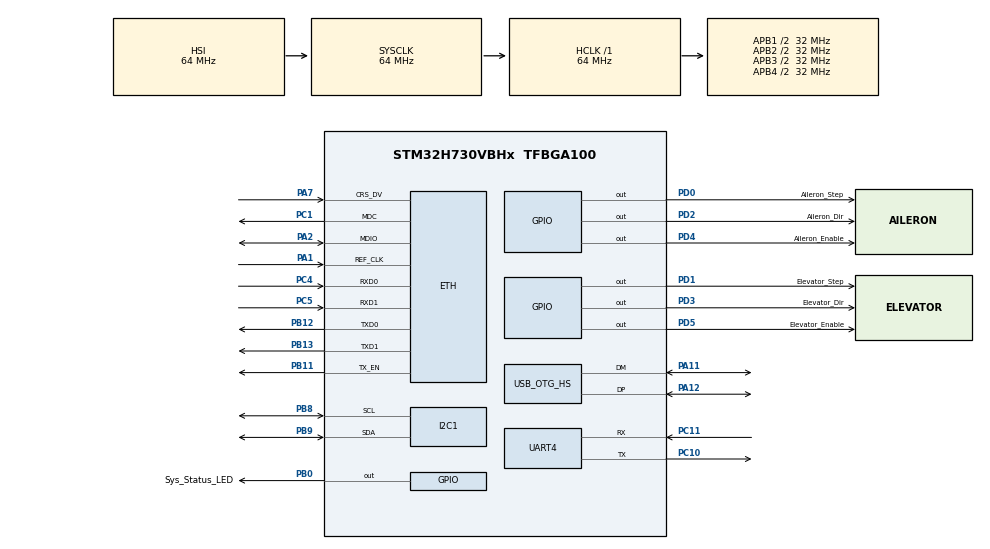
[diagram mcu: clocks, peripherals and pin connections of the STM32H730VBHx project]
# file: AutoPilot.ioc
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ETH.MediaInterface=HAL_ETH_RMII_MODE
I2C1.Timing=0x00707CBB
Mcu.Family=STM32H7
Mcu.Name=STM32H730VBHx
Mcu.Package=TFBGA100
NVIC.OTG_HS_IRQn=true\:0\:0\:false\:false\:true\:false\:true
NVIC.PriorityGroup=NVIC_PRIORITYGROUP_4
PA1.Mode=RMII
PA1.Signal=ETH_REF_CLK
PA11.Mode=Device_Only_FS
PA11.Signal=USB_OTG_HS_DM
PA12.Mode=Device_Only_FS
PA12.Signal=USB_OTG_HS_DP
PA2.Mode=RMII
PA2.Signal=ETH_MDIO
PA7.Mode=RMII
PA7.Signal=ETH_CRS_DV
PB0.GPIO_Label=Sys_Status_LED
PB0.Signal=GPIO_Output
PB11.Mode=RMII
PB11.Signal=ETH_TX_EN
PB12.Mode=RMII
PB12.Signal=ETH_TXD0
PB13.Mode=RMII
PB13.Signal=ETH_TXD1
PB8.Mode=I2C
PB8.Signal=I2C1_SCL
PB9.Mode=I2C
PB9.Signal=I2C1_SDA
PC1.Mode=RMII
PC1.Signal=ETH_MDC
PC10.Mode=Asynchronous
PC10.Signal=UART4_TX
PC11.Mode=Asynchronous
PC11.Signal=UART4_RX
PC4.Mode=RMII
PC4.Signal=ETH_RXD0
PC5.Mode=RMII
PC5.Signal=ETH_RXD1
PD0.GPIO_Label=Aileron_Step
PD0.GPIO_PuPd=GPIO_NOPULL
PD0.Signal=GPIO_Output
PD1.GPIO_Label=Elevator_Step
PD1.GPIO_PuPd=GPIO_NOPULL
PD1.PinState=GPIO_PIN_RESET
PD1.Signal=GPIO_Output
PD2.GPIO_Label=Aileron_Dir
PD2.GPIO_PuPd=GPIO_NOPULL
PD2.Signal=GPIO_Output
PD3.GPIO_Label=Elevator_Dir
PD3.GPIO_PuPd=GPIO_NOPULL
PD3.Signal=GPIO_Output
PD4.GPIO_Label=Aileron_Enable
PD4.GPIO_PuPd=GPIO_NOPULL
PD4.Signal=GPIO_Output
PD5.GPIO_Label=Elevator_Enable
PD5.GPIO_PuPd=GPIO_NOPULL
PD5.Signal=GPIO_Output
ProjectManager.HeapSize=0x200
ProjectManager.StackSize=0x400
ProjectManager.TargetToolchain=STM32CubeIDE
RCC.ADCFreq_Value=129000000
RCC.APB1Freq_Value=32000000
RCC.APB2Freq_Value=32000000
RCC.APB3Freq_Value=32000000
RCC.APB4Freq_Value=32000000
RCC.CortexFreq_Value=64000000
RCC.D1PPRE=RCC_APB3_DIV2
RCC.D2PPRE1=RCC_APB1_DIV2
RCC.D2PPRE2=RCC_APB2_DIV2
RCC.D3PPRE=RCC_APB4_DIV2
RCC.DIVM1=4
RCC.DIVN1=12
RCC.DIVQ1=4
RCC.HCLKFreq_Value=64000000
RCC.PLLFRACN=0
RCC.SYSCLKFreq_VALUE=64000000
RCC.USBCLockSelection=RCC_USBCLKSOURCE_HSI48
RCC.USBFreq_Value=48000000
USB_DEVICE.CLASS_NAME_HS=HID
USB_DEVICE.VirtualMode=Hid
USB_DEVICE.VirtualModeHS=Hid_HS
USB_OTG_HS.VirtualMode=Device_Only_FS
VP_USB_DEVICE_VS_USB_DEVICE_HID_HS.Mode=HID_HS
board=custom

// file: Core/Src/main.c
/* USER CODE BEGIN Header */
/**
  ******************************************************************************
  * @file           : main.c
  * @brief          : Main program body
  ******************************************************************************
  * @attention
  *
  * <h2><center>&copy; Copyright (c) 2021 STMicroelectronics.
  * All rights reserved.</center></h2>
  *
  * This software component is licensed by ST under BSD 3-Clause license,
  * the "License"; You may not use this file except in compliance with the
  * License. You may obtain a copy of the License at:
  *                        opensource.org/licenses/BSD-3-Clause
  *
  ******************************************************************************
  */
/* USER CODE END Header */
#include "main.h"
#include "string.h"
#include "usb_device.h"

/* USER CODE BEGIN Includes */
#include "PID.h"

/* USER CODE END Includes */

/* USER CODE BEGIN PM */
#define StepperEnable  1
#define StepperDisable  0
#define StepperForward  1
#define StepperBackward  0

u_int32_t Step_Delay = 5;

float Current_Bank, Desired_Bank = 0;
float Current_Pitch, Desired_Pitch = 0;
float AOutput, EOutput = 0;
int32_t Current_Airspeed, Desired_Airspeed = 0;
int32_t Current_Altitude, Desired_Altitude = 0;
int64_t Current_Step_Number, Desired_Step_Number = 0;

float Akp = 2.5, Aki = 1.0, Akd = 1.0;
float Ekp = 2.5, Eki = 1.0, Ekd = 1.0;
struct pid_controller Apidctrl;
struct pid_controller Epidctrl;

pid_t Aileron_PID = 0;
pid_t Elevator_PID = 0;

void Aileron_Direction_Set (int Direction)
{
	HAL_GPIO_WritePin(Aileron_Dir_GPIO_Port, Aileron_Dir_Pin, Direction);
}

void Elevator_Direction_Set (int Direction)
{
	HAL_GPIO_WritePin(Elevator_Dir_GPIO_Port, Elevator_Dir_Pin, Direction);
}

void Setup_Aileron_PID ()
{
	Aileron_PID = pid_create(&Apidctrl, &Current_Bank, &AOutput, &Desired_Bank, Akp, Aki, Akd);
	// Set controler output limits from 0 to 200
	pid_limits(Aileron_PID, 0, 200);
	// Allow PID to compute and change output
	pid_manual(Aileron_PID);
}

void Send_Elevator_Steps (int64_t StepNum)
{

	//Set Stepper Direction
	if (StepNum < 0)
	{
	    Elevator_Direction_Set(StepperBackward);
	    StepNum = abs(StepNum);
	}

	if (StepNum >= 0)
	{
		Elevator_Direction_Set(StepperForward);
		StepNum = abs(StepNum);
	}
    //Complete Steps
	for(int64_t x = 0; x < StepNum; x++)
	{
		HAL_GPIO_WritePin(Elevator_Step_GPIO_Port, Elevator_Step_Pin, 1);
		HAL_Delay(Step_Delay / 2);
		HAL_GPIO_WritePin(GPIOD, Elevator_Step_Pin, 0);
		HAL_Delay(Step_Delay / 2);
	}
}

void Send_Airleron_Steps(int64_t StepNum)
{
	//Set Stepper Direction
	if (StepNum < 0)
	{
	    Aileron_Direction_Set(StepperBackward);
	    StepNum = abs(StepNum);
	}

	if (StepNum >= 0)
	{
		Aileron_Direction_Set(StepperForward);
		StepNum = abs(StepNum);
	}
	//Complete Steps
	for(int64_t x = 0; x < StepNum; x++)
	{
		HAL_GPIO_WritePin(Aileron_Step_GPIO_Port, Aileron_Step_Pin, 1);
		HAL_Delay(Step_Delay / 2);
		HAL_GPIO_WritePin(GPIOD, Aileron_Step_Pin, 0);
		HAL_Delay(Step_Delay / 2);
	}
}

void Calculate_Aileron_PID ()
{			// Read inputs
//	ain = tc_read_float(&sensor1); // read Current Roll Value
	// Compute PID controllers
	pid_compute(Aileron_PID);
	// Adjust actuator
	AOutput = abs(AOutput);
	Send_Airleron_Steps(AOutput);
}

void Setup_Elevator_PID ()
{
	Elevator_PID = pid_create(&Epidctrl, &Current_Pitch, &EOutput, &Desired_Pitch, Ekp, Eki, Ekd);
	// Set controler output limits from 0 to 200
	pid_limits(Elevator_PID, 0, 200);
	// Allow PID to compute and change output
	pid_manual(Elevator_PID);
}

void Calculate_Elevator_PID ()
{			// Read inputs
//	ein = tc_read_float(&sensor1); // read Current Pitch Value
	// Compute PID controllers
	pid_compute(Elevator_PID);
	// Adjust actuator
	EOutput = abs(EOutput);
	Send_Elevator_Steps(EOutput);
}

void Enable_Aileron_Motor (int EnableStatus)
{
	HAL_GPIO_WritePin(Aileron_Enable_GPIO_Port, Aileron_Enable_Pin, EnableStatus); // High to enable
}

void Enable_Elevator_Motor (int EnableStatus)
{
	HAL_GPIO_WritePin(Elevator_Enable_GPIO_Port, Elevator_Enable_Pin, EnableStatus); //High to enable
}

/* USER CODE END PM */

#if defined ( __ICCARM__ ) /*!< IAR Compiler */

#pragma location=0x30040000
ETH_DMADescTypeDef  DMARxDscrTab[ETH_RX_DESC_CNT]; /* Ethernet Rx DMA Descriptors */
#pragma location=0x30040060
ETH_DMADescTypeDef  DMATxDscrTab[ETH_TX_DESC_CNT]; /* Ethernet Tx DMA Descriptors */
#pragma location=0x30040200
uint8_t Rx_Buff[ETH_RX_DESC_CNT][ETH_MAX_PACKET_SIZE]; /* Ethernet Receive Buffers */

#elif defined ( __CC_ARM )  /* MDK ARM Compiler */

__attribute__((at(0x30040000))) ETH_DMADescTypeDef  DMARxDscrTab[ETH_RX_DESC_CNT]; /* Ethernet Rx DMA Descriptors */
__attribute__((at(0x30040060))) ETH_DMADescTypeDef  DMATxDscrTab[ETH_TX_DESC_CNT]; /* Ethernet Tx DMA Descriptors */
__attribute__((at(0x30040200))) uint8_t Rx_Buff[ETH_RX_DESC_CNT][ETH_MAX_PACKET_SIZE]; /* Ethernet Receive Buffer */

#elif defined ( __GNUC__ ) /* GNU Compiler */

ETH_DMADescTypeDef DMARxDscrTab[ETH_RX_DESC_CNT] __attribute__((section(".RxDecripSection"))); /* Ethernet Rx DMA Descriptors */
ETH_DMADescTypeDef DMATxDscrTab[ETH_TX_DESC_CNT] __attribute__((section(".TxDecripSection")));   /* Ethernet Tx DMA Descriptors */
uint8_t Rx_Buff[ETH_RX_DESC_CNT][ETH_MAX_PACKET_SIZE] __attribute__((section(".RxArraySection"))); /* Ethernet Receive Buffers */

#endif

ETH_TxPacketConfig TxConfig;

ETH_HandleTypeDef heth;

I2C_HandleTypeDef hi2c1;

UART_HandleTypeDef huart4;

void SystemClock_Config(void);
static void MX_GPIO_Init(void);
static void MX_ETH_Init(void);
static void MX_I2C1_Init(void);
static void MX_UART4_Init(void);

int main(void)
{

  /* MCU Configuration--------------------------------------------------------*/

  /* Reset of all peripherals, Initializes the Flash interface and the Systick. */
  HAL_Init();

  /* Configure the system clock */
  SystemClock_Config();

  /* Initialize all configured peripherals */
  MX_GPIO_Init();
  MX_ETH_Init();
  MX_I2C1_Init();
  MX_UART4_Init();
  MX_USB_DEVICE_Init();
  /* USER CODE BEGIN 2 */
Setup_Aileron_PID();
Setup_Elevator_PID();
  /* USER CODE END 2 */

  /* Infinite loop */
  while (1)
  {

  }
}

void SystemClock_Config(void)
{
  RCC_OscInitTypeDef RCC_OscInitStruct = {0};
  RCC_ClkInitTypeDef RCC_ClkInitStruct = {0};

  /** Supply configuration update enable
  */
  //HAL_PWREx_ConfigSupply(PWR_DIRECT_SMPS_SUPPLY);
  /** Configure the main internal regulator output voltage
  */
  __HAL_PWR_VOLTAGESCALING_CONFIG(PWR_REGULATOR_VOLTAGE_SCALE3);

  while(!__HAL_PWR_GET_FLAG(PWR_FLAG_VOSRDY)) {}
  /** Initializes the RCC Oscillators according to the specified parameters
  * in the RCC_OscInitTypeDef structure.
  */
  RCC_OscInitStruct.OscillatorType = RCC_OSCILLATORTYPE_HSI48|RCC_OSCILLATORTYPE_HSI;
  RCC_OscInitStruct.HSIState = RCC_HSI_DIV1;
  RCC_OscInitStruct.HSICalibrationValue = RCC_HSICALIBRATION_DEFAULT;
  RCC_OscInitStruct.HSI48State = RCC_HSI48_ON;
  RCC_OscInitStruct.PLL.PLLState = RCC_PLL_NONE;
  if (HAL_RCC_OscConfig(&RCC_OscInitStruct) != HAL_OK)
  {
    Error_Handler();
  }
  /** Initializes the CPU, AHB and APB buses clocks
  */
  RCC_ClkInitStruct.ClockType = RCC_CLOCKTYPE_HCLK|RCC_CLOCKTYPE_SYSCLK
                              |RCC_CLOCKTYPE_PCLK1|RCC_CLOCKTYPE_PCLK2
                              |RCC_CLOCKTYPE_D3PCLK1|RCC_CLOCKTYPE_D1PCLK1;
  RCC_ClkInitStruct.SYSCLKSource = RCC_SYSCLKSOURCE_HSI;
  RCC_ClkInitStruct.SYSCLKDivider = RCC_SYSCLK_DIV1;
  RCC_ClkInitStruct.AHBCLKDivider = RCC_HCLK_DIV1;
  RCC_ClkInitStruct.APB3CLKDivider = RCC_APB3_DIV2;
  RCC_ClkInitStruct.APB1CLKDivider = RCC_APB1_DIV2;
  RCC_ClkInitStruct.APB2CLKDivider = RCC_APB2_DIV2;
  RCC_ClkInitStruct.APB4CLKDivider = RCC_APB4_DIV2;

  if (HAL_RCC_ClockConfig(&RCC_ClkInitStruct, FLASH_LATENCY_1) != HAL_OK)
  {
    Error_Handler();
  }
}

static void MX_ETH_Init(void)
{

   static uint8_t MACAddr[6];

  heth.Instance = ETH;
  MACAddr[0] = 0x00;
  MACAddr[1] = 0x80;
  MACAddr[2] = 0xE1;
  MACAddr[3] = 0x00;
  MACAddr[4] = 0x00;
  MACAddr[5] = 0x00;
  heth.Init.MACAddr = &MACAddr[0];
  heth.Init.MediaInterface = HAL_ETH_RMII_MODE;
  heth.Init.TxDesc = DMATxDscrTab;
  heth.Init.RxDesc = DMARxDscrTab;
  heth.Init.RxBuffLen = 1524;

  if (HAL_ETH_Init(&heth) != HAL_OK)
  {
    Error_Handler();
  }

  memset(&TxConfig, 0 , sizeof(ETH_TxPacketConfig));
  TxConfig.Attributes = ETH_TX_PACKETS_FEATURES_CSUM | ETH_TX_PACKETS_FEATURES_CRCPAD;
  TxConfig.ChecksumCtrl = ETH_CHECKSUM_IPHDR_PAYLOAD_INSERT_PHDR_CALC;
  TxConfig.CRCPadCtrl = ETH_CRC_PAD_INSERT;

}

static void MX_I2C1_Init(void)
{

  hi2c1.Instance = I2C1;
  hi2c1.Init.Timing = 0x00707CBB;
  hi2c1.Init.OwnAddress1 = 0;
  hi2c1.Init.AddressingMode = I2C_ADDRESSINGMODE_7BIT;
  hi2c1.Init.DualAddressMode = I2C_DUALADDRESS_DISABLE;
  hi2c1.Init.OwnAddress2 = 0;
  hi2c1.Init.OwnAddress2Masks = I2C_OA2_NOMASK;
  hi2c1.Init.GeneralCallMode = I2C_GENERALCALL_DISABLE;
  hi2c1.Init.NoStretchMode = I2C_NOSTRETCH_DISABLE;
  if (HAL_I2C_Init(&hi2c1) != HAL_OK)
  {
    Error_Handler();
  }
  /** Configure Analogue filter
  */
  if (HAL_I2CEx_ConfigAnalogFilter(&hi2c1, I2C_ANALOGFILTER_ENABLE) != HAL_OK)
  {
    Error_Handler();
  }
  /** Configure Digital filter
  */
  if (HAL_I2CEx_ConfigDigitalFilter(&hi2c1, 0) != HAL_OK)
  {
    Error_Handler();
  }

}

static void MX_UART4_Init(void)
{

  huart4.Instance = UART4;
  huart4.Init.BaudRate = 115200;
  huart4.Init.WordLength = UART_WORDLENGTH_8B;
  huart4.Init.StopBits = UART_STOPBITS_1;
  huart4.Init.Parity = UART_PARITY_NONE;
  huart4.Init.Mode = UART_MODE_TX_RX;
  huart4.Init.HwFlowCtl = UART_HWCONTROL_NONE;
  huart4.Init.OverSampling = UART_OVERSAMPLING_16;
  huart4.Init.OneBitSampling = UART_ONE_BIT_SAMPLE_DISABLE;
  huart4.Init.ClockPrescaler = UART_PRESCALER_DIV1;
  huart4.AdvancedInit.AdvFeatureInit = UART_ADVFEATURE_NO_INIT;
  if (HAL_UART_Init(&huart4) != HAL_OK)
  {
    Error_Handler();
  }
  if (HAL_UARTEx_SetTxFifoThreshold(&huart4, UART_TXFIFO_THRESHOLD_1_8) != HAL_OK)
  {
    Error_Handler();
  }
  if (HAL_UARTEx_SetRxFifoThreshold(&huart4, UART_RXFIFO_THRESHOLD_1_8) != HAL_OK)
  {
    Error_Handler();
  }
  if (HAL_UARTEx_DisableFifoMode(&huart4) != HAL_OK)
  {
    Error_Handler();
  }

}

static void MX_GPIO_Init(void)
{
  GPIO_InitTypeDef GPIO_InitStruct = {0};

  /* GPIO Ports Clock Enable */
  __HAL_RCC_GPIOB_CLK_ENABLE();
  __HAL_RCC_GPIOD_CLK_ENABLE();
  __HAL_RCC_GPIOC_CLK_ENABLE();
  __HAL_RCC_GPIOA_CLK_ENABLE();

  /*Configure GPIO pin Output Level */
  HAL_GPIO_WritePin(GPIOD, Elevator_Enable_Pin|Aileron_Dir_Pin|Elevator_Dir_Pin|Aileron_Enable_Pin
                          |Aileron_Step_Pin|Elevator_Step_Pin, GPIO_PIN_RESET);

  /*Configure GPIO pin Output Level */
  HAL_GPIO_WritePin(Sys_Status_LED_GPIO_Port, Sys_Status_LED_Pin, GPIO_PIN_RESET);

  /*Configure GPIO pins : Elevator_Enable_Pin Aileron_Dir_Pin Elevator_Dir_Pin Aileron_Enable_Pin
                           Aileron_Step_Pin Elevator_Step_Pin */
  GPIO_InitStruct.Pin = Elevator_Enable_Pin|Aileron_Dir_Pin|Elevator_Dir_Pin|Aileron_Enable_Pin
                          |Aileron_Step_Pin|Elevator_Step_Pin;
  GPIO_InitStruct.Mode = GPIO_MODE_OUTPUT_PP;
  GPIO_InitStruct.Pull = GPIO_NOPULL;
  GPIO_InitStruct.Speed = GPIO_SPEED_FREQ_LOW;
  HAL_GPIO_Init(GPIOD, &GPIO_InitStruct);

  /*Configure GPIO pin : Sys_Status_LED_Pin */
  GPIO_InitStruct.Pin = Sys_Status_LED_Pin;
  GPIO_InitStruct.Mode = GPIO_MODE_OUTPUT_PP;
  GPIO_InitStruct.Pull = GPIO_NOPULL;
  GPIO_InitStruct.Speed = GPIO_SPEED_FREQ_LOW;
  HAL_GPIO_Init(Sys_Status_LED_GPIO_Port, &GPIO_InitStruct);

}

void Error_Handler(void)
{
  __disable_irq();
  while (1)
  {
  }
}

/************************ (C) COPYRIGHT STMicroelectronics *****END OF FILE****/
